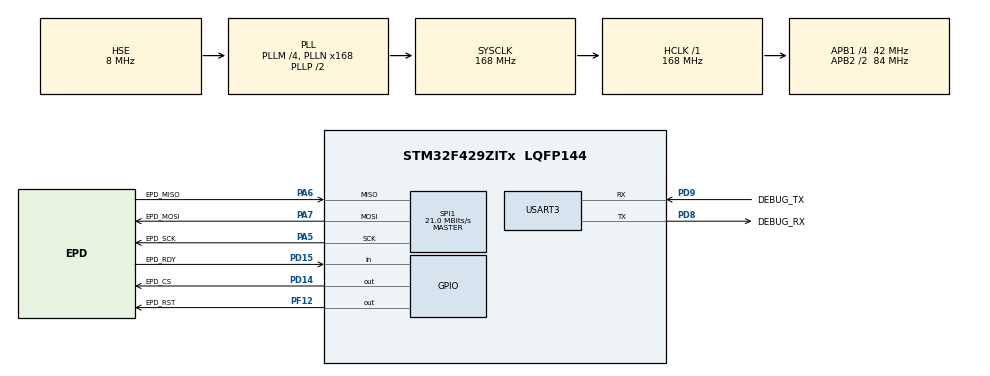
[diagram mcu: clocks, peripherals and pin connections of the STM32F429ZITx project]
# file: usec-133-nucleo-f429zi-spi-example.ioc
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Mcu.Family=STM32F4
Mcu.Name=STM32F429ZITx
Mcu.Package=LQFP144
NVIC.PriorityGroup=NVIC_PRIORITYGROUP_4
PA5.GPIO_Label=EPD_SCK
PA5.Mode=Full_Duplex_Master
PA5.Signal=SPI1_SCK
PA6.GPIO_Label=EPD_MISO
PA6.Mode=Full_Duplex_Master
PA6.Signal=SPI1_MISO
PA7.GPIO_Label=EPD_MOSI
PA7.Mode=Full_Duplex_Master
PA7.Signal=SPI1_MOSI
PC14/OSC32_IN.Mode=LSE-External-Oscillator
PC14/OSC32_IN.Signal=RCC_OSC32_IN
PC15/OSC32_OUT.Mode=LSE-External-Oscillator
PC15/OSC32_OUT.Signal=RCC_OSC32_OUT
PD14.GPIO_Label=EPD_CS
PD14.GPIO_Speed=GPIO_SPEED_FREQ_VERY_HIGH
PD14.Signal=GPIO_Output
PD15.GPIO_Label=EPD_RDY
PD15.GPIO_PuPd=GPIO_PULLUP
PD15.Signal=GPIO_Input
PD8.GPIO_Label=DEBUG_RX
PD8.Mode=Asynchronous
PD8.Signal=USART3_TX
PD9.GPIO_Label=DEBUG_TX
PD9.Mode=Asynchronous
PD9.Signal=USART3_RX
PF12.GPIO_Label=EPD_RST
PF12.Signal=GPIO_Output
PH0/OSC_IN.GPIO_Label=MCO
PH0/OSC_IN.Mode=HSE-External-Clock-Source
PH0/OSC_IN.Signal=RCC_OSC_IN
PH1/OSC_OUT.Mode=HSE-External-Clock-Source
PH1/OSC_OUT.Signal=RCC_OSC_OUT
ProjectManager.HeapSize=0x200
ProjectManager.StackSize=0x400
ProjectManager.TargetToolchain=STM32CubeIDE
RCC.48MHZClocksFreq_Value=48000000
RCC.AHBFreq_Value=168000000
RCC.APB1CLKDivider=RCC_HCLK_DIV4
RCC.APB1Freq_Value=42000000
RCC.APB1TimFreq_Value=84000000
RCC.APB2CLKDivider=RCC_HCLK_DIV2
RCC.APB2Freq_Value=84000000
RCC.APB2TimCLKDivider=2
RCC.APB2TimFreq_Value=168000000
RCC.CortexFreq_Value=168000000
RCC.HCLKFreq_Value=168000000
RCC.HSE_VALUE=8000000
RCC.HSI_VALUE=16000000
RCC.PLLM=4
RCC.PLLMUL=RCC_PLL_MUL9
RCC.PLLN=168
RCC.PLLQ=7
RCC.PLLSourceVirtual=RCC_PLLSOURCE_HSE
RCC.PRESCALERUSB=RCC_USBCLKSOURCE_PLL_DIV1_5
RCC.SYSCLKFreq_VALUE=168000000
RCC.SYSCLKSource=RCC_SYSCLKSOURCE_PLLCLK
RCC.SYSCLKSourceVirtual=RCC_SYSCLKSOURCE_PLLCLK
RCC.USBFreq_Value=48000000
RCC.VCOOutputFreq_Value=336000000
SPI1.BaudRatePrescaler=SPI_BAUDRATEPRESCALER_4
SPI1.CalculateBaudRate=21.0 MBits/s
SPI1.Direction=SPI_DIRECTION_2LINES
SPI1.Mode=SPI_MODE_MASTER
SPI1.VirtualType=VM_MASTER
USART3.VirtualMode=VM_ASYNC
board=NUCLEO-F429ZI

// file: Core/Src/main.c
/* USER CODE BEGIN Header */
/**
  ******************************************************************************
  * @file           : main.c
  * @brief          : Main program body
  ******************************************************************************
  * @attention
  *
  * Copyright (c) 2024 STMicroelectronics.
  * All rights reserved.
  *
  * This software is licensed under terms that can be found in the LICENSE file
  * in the root directory of this software component.
  * If no LICENSE file comes with this software, it is provided AS-IS.
  *
  ******************************************************************************
  */
/* USER CODE END Header */
#include "main.h"
#include "spi.h"
#include "usart.h"
#include "gpio.h"

/* USER CODE BEGIN Includes */
#include <stdio.h>
#include "usec_dev.h"
#include "img_1_1bpp.h"
#include "img_2_1bpp.h"
#include "img_8bpp.h"
/* USER CODE END Includes */

/* USER CODE BEGIN PD */
#define PUTCHAR_PROTOTYPE int __io_putchar(int ch)
/* USER CODE END PD */

void SystemClock_Config(void);

int main(void)
{

  /* MCU Configuration--------------------------------------------------------*/

  /* Reset of all peripherals, Initializes the Flash interface and the Systick. */
  HAL_Init();

  /* USER CODE BEGIN Init */
  usec_ctx *ctx;
  uint8_t usec_temp;
  uint8_t status;
  /* USER CODE END Init */

  /* Configure the system clock */
  SystemClock_Config();

  /* Initialize all configured peripherals */
  MX_GPIO_Init();
  MX_SPI1_Init();
  MX_USART3_UART_Init();
  /* USER CODE BEGIN 2 */

  printf ("[status] app init...\n\r");

  /* initialize controller */
  ctx = usec_init();
  if (ctx == NULL)
    {
	  printf ("[error] cannot initialize e-ink controller\n\r");
      while(1);
    }

  printf ("[status] screen width - %ld [px]\n\r", ctx->dev_width[0]);
  printf ("[status] screen height - %ld [px]\n\r", ctx->dev_height[0]);

  /* read temperature value */
  status = usec_get_temp (ctx, &usec_temp);
  if (status != USEC_DEV_OK)
    {
	  printf ("[error] cannot read temperature value\n\r");

      usec_deinit (ctx);
      while(1);
    }
  printf ("[status] screen temperature: %d [degC]\n\r", usec_temp);

  /*
   * DEMO MAINLOOP
   */
  while(1)
    {

	  /* cleanup display - UPDATE_MODE_INIT */
	  status = usec_img_update (ctx, 0, 0, 1600, 1200, UPDATE_MODE_INIT, 1);
	  if (status != USEC_DEV_OK)
		{
		  printf ("[error] cannot cleanup display\n\r");
		  while(1);
		}

	  /* upload 8BPP image into internal buffer */
	  status = usec_img_upload (ctx, (uint8_t*)img_8bpp, sizeof (img_8bpp),
								IMG_8BPP, 400, 300, 800, 600);
	  if (status != USEC_DEV_OK)
		{
		  printf ("[error] cannot upload 'img_8bpp' data\n\r");
		  while(1);
		}

	  /* update display - UPDATE_MODE_GC16 */
	  status = usec_img_update (ctx, 400, 300, 800, 600, UPDATE_MODE_GC16, 1);
	  if (status != USEC_DEV_OK)
		{
		  printf ("[error] cannot update display\n\r");
		  while(1);
		}

	  /* delay only for demo purposes */
	  HAL_Delay (2000);

	  /* switch to 1BPP mode */
	  status = usec_1bpp_mode (ctx, ENABLE_1BPP);
	  if (status != USEC_DEV_OK)
		{
		  printf ("[error] cannot switch display to 1BPP mode\n\r");
		  while(1);
		}

	  /* upload 1BPP image to internal buffer */
	  status = usec_img_upload (ctx, (uint8_t*)img_1_1bpp, sizeof(img_1_1bpp),
								IMG_1BPP, 0, 0, 1600, 1200);
	  if (status != USEC_DEV_OK)
		{
		  printf ("[error] cannot upload 'img_1_1bpp' data\n\r");
		  while(1);
		}

	  /* update display */
	  status = usec_img_update (ctx, 0, 0, 1600, 1200, UPDATE_MODE_GC16, 1);
	  if (status != USEC_DEV_OK)
		{
		  printf ("[error] cannot update display\n\r");
		  while(1);
		}

	  /* delay only for demo purposes */
	  HAL_Delay (2000);

	  /* upload 1BPP image to internal buffer */
	  status = usec_img_upload (ctx, (uint8_t*)img_2_1bpp,
								sizeof(img_2_1bpp), IMG_1BPP, 0, 0, 1600, 1200);
	  if (status != USEC_DEV_OK)
		{
		  printf ("[error] cannot upload 'img_2_1bpp' data\n\r");
		  while(1);
		}

	  /* update display */
	  status = usec_img_update (ctx, 0, 0, 1600, 1200, UPDATE_MODE_GC16, 1);
	  if (status != USEC_DEV_OK)
		{
		  printf ("[error] cannot update display\n\r");
		  while(1);
		}

	  /* disable 1BPP mode if we want to display 8BPP image */
	  status = usec_1bpp_mode (ctx, DISABLE_1BPP);
	  if (status != USEC_DEV_OK)
		{
		  printf ("[error] cannot disable 1BPP mode\n\r");
		  while(1);
		}
    }
  /* USER CODE END 2 */

  /* Infinite loop */
  while (1)
  {

  }
}

void SystemClock_Config(void)
{
  RCC_OscInitTypeDef RCC_OscInitStruct = {0};
  RCC_ClkInitTypeDef RCC_ClkInitStruct = {0};

  /** Configure the main internal regulator output voltage
  */
  __HAL_RCC_PWR_CLK_ENABLE();
  __HAL_PWR_VOLTAGESCALING_CONFIG(PWR_REGULATOR_VOLTAGE_SCALE1);

  /** Initializes the RCC Oscillators according to the specified parameters
  * in the RCC_OscInitTypeDef structure.
  */
  RCC_OscInitStruct.OscillatorType = RCC_OSCILLATORTYPE_HSE;
  RCC_OscInitStruct.HSEState = RCC_HSE_BYPASS;
  RCC_OscInitStruct.PLL.PLLState = RCC_PLL_ON;
  RCC_OscInitStruct.PLL.PLLSource = RCC_PLLSOURCE_HSE;
  RCC_OscInitStruct.PLL.PLLM = 4;
  RCC_OscInitStruct.PLL.PLLN = 168;
  RCC_OscInitStruct.PLL.PLLP = RCC_PLLP_DIV2;
  RCC_OscInitStruct.PLL.PLLQ = 7;
  if (HAL_RCC_OscConfig(&RCC_OscInitStruct) != HAL_OK)
  {
    Error_Handler();
  }

  /** Initializes the CPU, AHB and APB buses clocks
  */
  RCC_ClkInitStruct.ClockType = RCC_CLOCKTYPE_HCLK|RCC_CLOCKTYPE_SYSCLK
                              |RCC_CLOCKTYPE_PCLK1|RCC_CLOCKTYPE_PCLK2;
  RCC_ClkInitStruct.SYSCLKSource = RCC_SYSCLKSOURCE_PLLCLK;
  RCC_ClkInitStruct.AHBCLKDivider = RCC_SYSCLK_DIV1;
  RCC_ClkInitStruct.APB1CLKDivider = RCC_HCLK_DIV4;
  RCC_ClkInitStruct.APB2CLKDivider = RCC_HCLK_DIV2;

  if (HAL_RCC_ClockConfig(&RCC_ClkInitStruct, FLASH_LATENCY_5) != HAL_OK)
  {
    Error_Handler();
  }
}

/* USER CODE BEGIN 4 */
PUTCHAR_PROTOTYPE
{
  HAL_UART_Transmit (&huart3, (uint8_t*)&ch, 1, 0xFFFF);

  return ch;
}
/* USER CODE END 4 */

void Error_Handler(void)
{
  __disable_irq();
  while (1)
  {
  }
}
